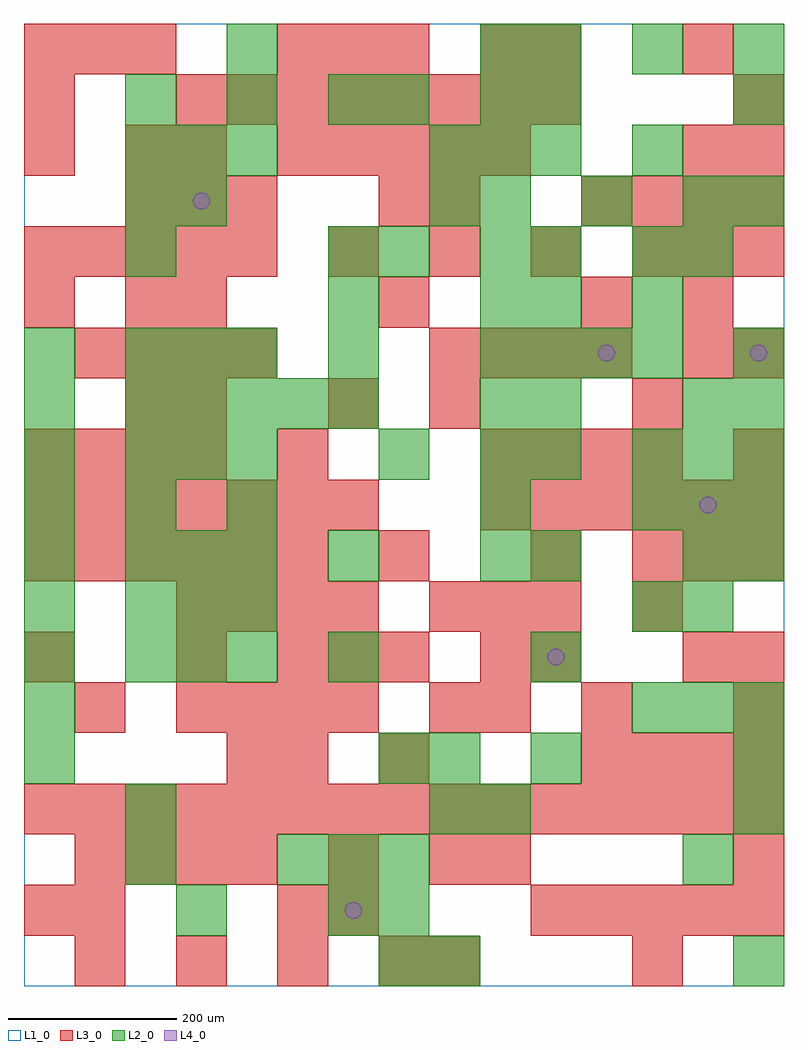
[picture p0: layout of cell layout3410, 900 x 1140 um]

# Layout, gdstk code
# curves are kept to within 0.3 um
import gdstk
lib = gdstk.Library(unit=1e-6, precision=1e-09)
def R(c, l, rs):  # rectangles x0, y0, x1, y1
    for r in rs: c.add(gdstk.rectangle(r[:2], r[2:], *l))
def A(c, l, x, y, w, h, nx, ny, dx, dy):  # array of equal rectangles
    R(c, l, [(x+i*dx, y+j*dy, x+i*dx+w, y+j*dy+h) for i in range(nx) for j in range(ny)])
def P(c, l, *ps):  # polygons
    for p in ps: c.add(gdstk.Polygon(p, *l))
L1_0 = (1, 0)
L2_0 = (2, 0)
L3_0 = (3, 0)
L4_0 = (4, 0)

layout3410 = lib.new_cell('layout3410')
R(layout3410, L1_0, [(0,0,900,1140)])
A(layout3410, L2_0, 300, 120, 60, 60, 3, 1, 60, 0)
A(layout3410, L2_0, 0, 240, 60, 60, 1, 5, 0, 60)
A(layout3410, L2_0, 600, 240, 60, 60, 1, 4, 0, 120)
A(layout3410, L2_0, 720, 300, 60, 60, 3, 2, 60, 240)
A(layout3410, L2_0, 120, 360, 60, 60, 3, 3, 60, 60)
A(layout3410, L2_0, 540, 480, 60, 60, 1, 4, 0, 60)
A(layout3410, L2_0, 780, 480, 60, 60, 1, 3, 0, 180)
A(layout3410, L2_0, 0, 540, 60, 60, 3, 1, 120, 0)
A(layout3410, L2_0, 0, 600, 60, 60, 1, 3, 0, 60)
A(layout3410, L2_0, 120, 600, 60, 60, 3, 2, 60, 120)
A(layout3410, L2_0, 720, 600, 60, 60, 3, 1, 60, 0)
A(layout3410, L2_0, 120, 660, 60, 60, 5, 1, 60, 0)
A(layout3410, L2_0, 360, 720, 60, 60, 1, 3, 0, 60)
A(layout3410, L2_0, 540, 720, 60, 60, 4, 1, 60, 0)
A(layout3410, L2_0, 540, 900, 60, 60, 3, 1, 120, 0)
A(layout3410, L2_0, 120, 960, 60, 60, 3, 1, 60, 0)
A(layout3410, L2_0, 480, 960, 60, 60, 3, 1, 60, 0)
A(layout3410, L2_0, 120, 1020, 60, 60, 3, 1, 120, 0)
A(layout3410, L2_0, 600, 1080, 60, 60, 3, 1, 120, 0)
R(layout3410, L2_0, [(420,0,480,60), (480,0,540,60), (840,0,900,60), (180,60,240,120), (360,60,420,120), (420,60,480,120), (120,120,180,180), (780,120,840,180), (120,180,180,240), (480,180,540,240), (540,180,600,240), (840,180,900,240), (420,240,480,300), (480,240,540,300), (840,240,900,300), (360,360,420,420), (720,420,780,480), (780,420,840,480), (360,480,420,540), (840,480,900,540), (420,600,480,660), (600,660,660,720), (840,660,900,720), (840,720,900,780), (540,780,600,840), (600,780,660,840), (720,780,780,840), (120,840,180,900), (420,840,480,900), (540,840,600,900), (600,840,660,900), (720,840,780,900), (120,900,180,960), (180,900,240,960), (480,900,540,960), (840,900,900,960), (720,960,780,1020), (420,1020,480,1080), (540,1020,600,1080), (600,1020,660,1080), (840,1020,900,1080), (240,1080,300,1140), (540,1080,600,1140)])
A(layout3410, L3_0, 60, 0, 60, 60, 4, 1, 120, 0)
A(layout3410, L3_0, 600, 60, 60, 60, 5, 1, 60, 0)
A(layout3410, L3_0, 60, 120, 60, 60, 4, 2, 60, 600)
A(layout3410, L3_0, 0, 180, 60, 60, 15, 1, 60, 0)
A(layout3410, L3_0, 660, 240, 60, 60, 4, 2, 60, 660)
A(layout3410, L3_0, 180, 300, 60, 60, 4, 2, 60, 120)
A(layout3410, L3_0, 180, 360, 60, 60, 1, 3, 0, 300)
A(layout3410, L3_0, 300, 360, 60, 60, 3, 2, 60, 720)
A(layout3410, L3_0, 480, 420, 60, 60, 3, 1, 60, 0)
A(layout3410, L3_0, 0, 480, 60, 60, 6, 1, 60, 0)
A(layout3410, L3_0, 720, 480, 60, 60, 3, 1, 60, 0)
A(layout3410, L3_0, 0, 540, 60, 60, 7, 1, 60, 0)
A(layout3410, L3_0, 540, 540, 60, 60, 6, 1, 60, 0)
A(layout3410, L3_0, 0, 600, 60, 60, 4, 1, 60, 0)
A(layout3410, L3_0, 540, 600, 60, 60, 4, 1, 60, 0)
A(layout3410, L3_0, 840, 600, 60, 60, 1, 4, 0, 120)
A(layout3410, L3_0, 480, 720, 60, 60, 4, 1, 60, 0)
A(layout3410, L3_0, 780, 720, 60, 60, 1, 3, 0, 60)
A(layout3410, L3_0, 180, 780, 60, 60, 3, 1, 240, 0)
A(layout3410, L3_0, 0, 840, 60, 60, 5, 1, 60, 0)
A(layout3410, L3_0, 360, 840, 60, 60, 4, 1, 120, 0)
A(layout3410, L3_0, 120, 900, 60, 60, 3, 1, 60, 0)
A(layout3410, L3_0, 300, 960, 60, 60, 5, 1, 60, 0)
A(layout3410, L3_0, 180, 1020, 60, 60, 8, 1, 60, 0)
A(layout3410, L3_0, 0, 1080, 60, 60, 3, 1, 60, 0)
R(layout3410, L3_0, [(480,0,540,60), (720,0,780,60), (0,60,60,120), (60,60,120,120), (300,60,360,120), (360,60,420,120), (360,120,420,180), (480,120,540,180), (540,120,600,180), (840,120,900,180), (240,240,300,300), (300,240,360,300), (420,240,480,300), (60,300,120,360), (480,300,540,360), (540,300,600,360), (660,300,720,360), (840,300,900,360), (0,360,60,420), (540,360,600,420), (600,360,660,420), (780,360,840,420), (840,360,900,420), (720,420,780,480), (420,480,480,540), (600,480,660,540), (300,600,360,660), (120,660,180,720), (360,660,420,720), (480,660,540,720), (720,660,780,720), (0,780,60,840), (120,780,180,840), (420,900,480,960), (480,900,540,960), (0,960,60,1020), (120,960,180,1020), (780,960,840,1020), (0,1020,60,1080), (840,1020,900,1080), (540,1080,600,1140), (600,1080,660,1140), (780,1080,840,1140)])
P(layout3410, L4_0, [(220,930),(219.239,933.827),(217.071,937.071),(213.827,939.239),(210,940),(206.173,939.239),(202.929,937.071),(200.761,933.827),(200,930),(200.761,926.173),(202.929,922.929),(206.173,920.761),(210,920),(213.827,920.761),(217.071,922.929),(219.239,926.173)],
  [(400,90),(399.239,93.827),(397.071,97.071),(393.827,99.239),(390,100),(386.173,99.239),(382.929,97.071),(380.761,93.827),(380,90),(380.761,86.173),(382.929,82.929),(386.173,80.761),(390,80),(393.827,80.761),(397.071,82.929),(399.239,86.173)],
  [(640,390),(639.239,393.827),(637.071,397.071),(633.827,399.239),(630,400),(626.173,399.239),(622.929,397.071),(620.761,393.827),(620,390),(620.761,386.173),(622.929,382.929),(626.173,380.761),(630,380),(633.827,380.761),(637.071,382.929),(639.239,386.173)],
  [(700,750),(699.239,753.827),(697.071,757.071),(693.827,759.239),(690,760),(686.173,759.239),(682.929,757.071),(680.761,753.827),(680,750),(680.761,746.173),(682.929,742.929),(686.173,740.761),(690,740),(693.827,740.761),(697.071,742.929),(699.239,746.173)],
  [(820,570),(819.239,573.827),(817.071,577.071),(813.827,579.239),(810,580),(806.173,579.239),(802.929,577.071),(800.761,573.827),(800,570),(800.761,566.173),(802.929,562.929),(806.173,560.761),(810,560),(813.827,560.761),(817.071,562.929),(819.239,566.173)],
  [(880,750),(879.239,753.827),(877.071,757.071),(873.827,759.239),(870,760),(866.173,759.239),(862.929,757.071),(860.761,753.827),(860,750),(860.761,746.173),(862.929,742.929),(866.173,740.761),(870,740),(873.827,740.761),(877.071,742.929),(879.239,746.173)])

lib.write_gds('layout3410.gds')
